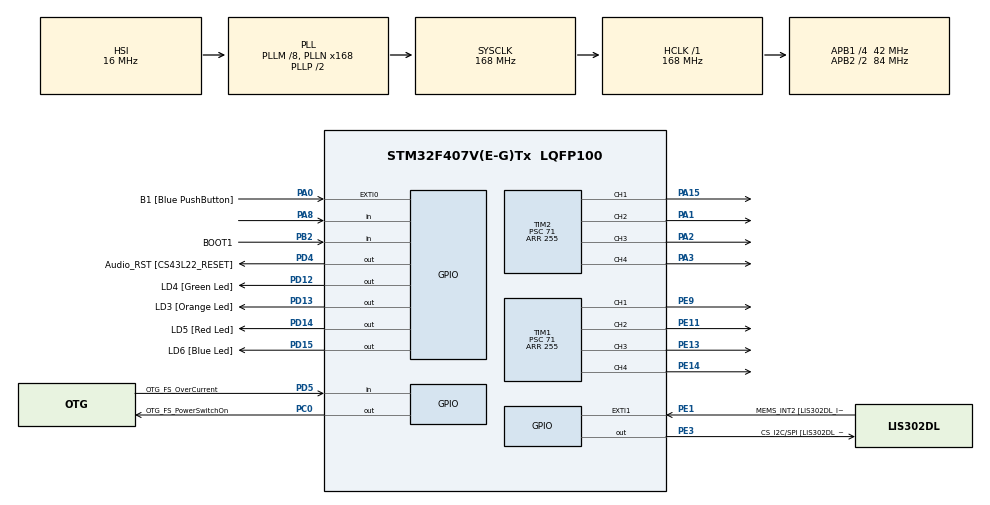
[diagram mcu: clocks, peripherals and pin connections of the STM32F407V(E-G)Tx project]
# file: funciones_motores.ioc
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Mcu.Family=STM32F4
Mcu.Name=STM32F407V(E-G)Tx
Mcu.Package=LQFP100
NVIC.PriorityGroup=NVIC_PRIORITYGROUP_0
PA0-WKUP.GPIO_Label=B1 [Blue PushButton]
PA0-WKUP.Signal=GPXTI0
PA1.Signal=S_TIM2_CH2
PA10.GPIO_Label=OTG_FS_ID
PA10.GPIO_Mode=GPIO_MODE_AF_PP
PA10.GPIO_PuPd=GPIO_NOPULL
PA10.GPIO_Speed=GPIO_SPEED_FREQ_LOW
PA10.Signal=USB_OTG_FS_ID
PA11.GPIO_Label=OTG_FS_DM
PA11.GPIO_Mode=GPIO_MODE_AF_PP
PA11.GPIO_PuPd=GPIO_NOPULL
PA11.GPIO_Speed=GPIO_SPEED_FREQ_LOW
PA11.Signal=USB_OTG_FS_DM
PA12.GPIO_Label=OTG_FS_DP
PA12.GPIO_Mode=GPIO_MODE_AF_PP
PA12.GPIO_PuPd=GPIO_NOPULL
PA12.GPIO_Speed=GPIO_SPEED_FREQ_LOW
PA12.Signal=USB_OTG_FS_DP
PA13.GPIO_Label=SWDIO
PA13.Signal=SYS_JTMS-SWDIO
PA14.GPIO_Label=SWCLK
PA14.Signal=SYS_JTCK-SWCLK
PA15.Signal=S_TIM2_CH1_ETR
PA2.Signal=S_TIM2_CH3
PA3.Signal=S_TIM2_CH4
PA4.GPIO_Label=I2S3_WS [CS43L22_LRCK]
PA4.GPIO_Mode=GPIO_MODE_AF_PP
PA4.GPIO_PuPd=GPIO_NOPULL
PA4.GPIO_Speed=GPIO_SPEED_FREQ_LOW
PA4.Signal=I2S3_WS
PA5.GPIO_Label=SPI1_SCK [LIS302DL_SCL/SPC]
PA5.GPIO_Mode=GPIO_MODE_AF_PP
PA5.GPIO_PuPd=GPIO_NOPULL
PA5.GPIO_Speed=GPIO_SPEED_FREQ_LOW
PA5.Signal=SPI1_SCK
PA6.GPIO_Label=SPI1_MISO [LIS302DL_SDO]
PA6.GPIO_Mode=GPIO_MODE_AF_PP
PA6.GPIO_PuPd=GPIO_NOPULL
PA6.GPIO_Speed=GPIO_SPEED_FREQ_LOW
PA6.Signal=SPI1_MISO
PA7.GPIO_Label=SPI1_MOSI [LIS302DL_SDA/SDI/SDO]
PA7.GPIO_Mode=GPIO_MODE_AF_PP
PA7.GPIO_PuPd=GPIO_NOPULL
PA7.GPIO_Speed=GPIO_SPEED_FREQ_LOW
PA7.Signal=SPI1_MOSI
PA8.GPIO_PuPd=GPIO_PULLDOWN
PA8.Signal=GPIO_Input
PA9.GPIO_Label=VBUS_FS
PA9.GPIO_Mode=GPIO_MODE_INPUT
PA9.GPIO_PuPd=GPIO_NOPULL
PA9.Signal=USB_OTG_FS_VBUS
PB10.GPIO_Label=CLK_IN [MP45DT02_CLK]
PB10.GPIO_Mode=GPIO_MODE_AF_PP
PB10.GPIO_PuPd=GPIO_NOPULL
PB10.GPIO_Speed=GPIO_SPEED_FREQ_LOW
PB10.Signal=I2S2_CK
PB2.GPIO_Label=BOOT1
PB2.GPIO_Mode=GPIO_MODE_INPUT
PB2.GPIO_PuPd=GPIO_NOPULL
PB2.Signal=GPIO_Input
PB3.GPIO_Label=SWO
PB3.Signal=SYS_JTDO-SWO
PB6.GPIO_Label=Audio_SCL [CS43L22_SCL]
PB6.GPIO_Mode=GPIO_MODE_AF_OD
PB6.GPIO_PuPd=GPIO_NOPULL
PB6.GPIO_Speed=GPIO_SPEED_FREQ_LOW
PB6.Signal=I2C1_SCL
PB9.GPIO_Label=Audio_SDA [CS43L22_SDA]
PB9.GPIO_Mode=GPIO_MODE_AF_OD
PB9.GPIO_PuPd=GPIO_NOPULL
PB9.GPIO_Speed=GPIO_SPEED_FREQ_LOW
PB9.Signal=I2C1_SDA
PC0.GPIO_Label=OTG_FS_PowerSwitchOn
PC0.GPIO_PuPd=GPIO_NOPULL
PC0.GPIO_Speed=GPIO_SPEED_FREQ_LOW
PC0.PinState=GPIO_PIN_SET
PC0.Signal=GPIO_Output
PC10.GPIO_Label=I2S3_SCK [CS43L22_SCLK]
PC10.GPIO_Mode=GPIO_MODE_AF_PP
PC10.GPIO_PuPd=GPIO_NOPULL
PC10.GPIO_Speed=GPIO_SPEED_FREQ_LOW
PC10.Signal=I2S3_CK
PC12.GPIO_Label=I2S3_SD [CS43L22_SDIN]
PC12.GPIO_Mode=GPIO_MODE_AF_PP
PC12.GPIO_PuPd=GPIO_NOPULL
PC12.GPIO_Speed=GPIO_SPEED_FREQ_LOW
PC12.Signal=I2S3_SD
PC14-OSC32_IN.GPIO_Label=PC14-OSC32_IN
PC14-OSC32_IN.Signal=RCC_OSC32_IN
PC15-OSC32_OUT.GPIO_Label=PC15-OSC32_OUT
PC15-OSC32_OUT.Signal=RCC_OSC32_OUT
PC3.GPIO_Label=PDM_OUT [MP45DT02_DOUT]
PC3.GPIO_Mode=GPIO_MODE_AF_PP
PC3.GPIO_PuPd=GPIO_NOPULL
PC3.GPIO_Speed=GPIO_SPEED_FREQ_LOW
PC3.Signal=I2S2_SD
PC7.GPIO_Label=I2S3_MCK [CS43L22_MCLK]
PC7.GPIO_Mode=GPIO_MODE_AF_PP
PC7.GPIO_PuPd=GPIO_NOPULL
PC7.GPIO_Speed=GPIO_SPEED_FREQ_LOW
PC7.Signal=I2S3_MCK
PD12.GPIO_Label=LD4 [Green Led]
PD12.GPIO_PuPd=GPIO_NOPULL
PD12.GPIO_Speed=GPIO_SPEED_FREQ_LOW
PD12.Signal=GPIO_Output
PD13.GPIO_Label=LD3 [Orange Led]
PD13.GPIO_PuPd=GPIO_NOPULL
PD13.GPIO_Speed=GPIO_SPEED_FREQ_LOW
PD13.Signal=GPIO_Output
PD14.GPIO_Label=LD5 [Red Led]
PD14.GPIO_PuPd=GPIO_NOPULL
PD14.GPIO_Speed=GPIO_SPEED_FREQ_LOW
PD14.Signal=GPIO_Output
PD15.GPIO_Label=LD6 [Blue Led]
PD15.GPIO_PuPd=GPIO_NOPULL
PD15.GPIO_Speed=GPIO_SPEED_FREQ_LOW
PD15.Signal=GPIO_Output
PD4.GPIO_Label=Audio_RST [CS43L22_RESET]
PD4.GPIO_PuPd=GPIO_NOPULL
PD4.GPIO_Speed=GPIO_SPEED_FREQ_LOW
PD4.Signal=GPIO_Output
PD5.GPIO_Label=OTG_FS_OverCurrent
PD5.GPIO_Mode=GPIO_MODE_INPUT
PD5.GPIO_PuPd=GPIO_NOPULL
PD5.Signal=GPIO_Input
PE1.GPIO_Label=MEMS_INT2 [LIS302DL_INT2]
PE1.GPIO_ModeDefaultEXTI=GPIO_MODE_EVT_RISING
PE1.GPIO_PuPd=GPIO_NOPULL
PE1.Signal=GPXTI1
PE11.Signal=S_TIM1_CH2
PE13.Signal=S_TIM1_CH3
PE14.Signal=S_TIM1_CH4
PE3.GPIO_Label=CS_I2C/SPI [LIS302DL_CS_I2C/SPI]
PE3.GPIO_PuPd=GPIO_NOPULL
PE3.GPIO_Speed=GPIO_SPEED_FREQ_LOW
PE3.Signal=GPIO_Output
PE9.Signal=S_TIM1_CH1
PH0-OSC_IN.GPIO_Label=PH0-OSC_IN
PH0-OSC_IN.Mode=HSE-External-Oscillator
PH0-OSC_IN.Signal=RCC_OSC_IN
PH1-OSC_OUT.GPIO_Label=PH1-OSC_OUT
PH1-OSC_OUT.Mode=HSE-External-Oscillator
PH1-OSC_OUT.Signal=RCC_OSC_OUT
ProjectManager.HeapSize=0x200
ProjectManager.StackSize=0x400
ProjectManager.TargetToolchain=STM32CubeIDE
RCC.48MHZClocksFreq_Value=48000000
RCC.AHBFreq_Value=168000000
RCC.APB1CLKDivider=RCC_HCLK_DIV4
RCC.APB1Freq_Value=42000000
RCC.APB1TimFreq_Value=84000000
RCC.APB2CLKDivider=RCC_HCLK_DIV2
RCC.APB2Freq_Value=84000000
RCC.APB2TimFreq_Value=168000000
RCC.CortexFreq_Value=168000000
RCC.HCLKFreq_Value=168000000
RCC.HSE_VALUE=8000000
RCC.HSI_VALUE=16000000
RCC.LSE_VALUE=32768
RCC.PLLM=8
RCC.PLLN=168
RCC.PLLQ=7
RCC.SYSCLKFreq_VALUE=168000000
RCC.SYSCLKSource=RCC_SYSCLKSOURCE_PLLCLK
RCC.VCOOutputFreq_Value=336000000
SH.S_TIM1_CH1.0=TIM1_CH1,PWM Generation1 CH1
SH.S_TIM1_CH2.0=TIM1_CH2,PWM Generation2 CH2
SH.S_TIM1_CH3.0=TIM1_CH3,PWM Generation3 CH3
SH.S_TIM1_CH4.0=TIM1_CH4,PWM Generation4 CH4
SH.S_TIM2_CH1_ETR.0=TIM2_CH1,PWM Generation1 CH1
SH.S_TIM2_CH2.0=TIM2_CH2,PWM Generation2 CH2
SH.S_TIM2_CH3.0=TIM2_CH3,PWM Generation3 CH3
SH.S_TIM2_CH4.0=TIM2_CH4,PWM Generation4 CH4
TIM1.AutoReloadPreload=TIM_AUTORELOAD_PRELOAD_ENABLE
TIM1.Channel-PWM\ Generation1\ CH1=TIM_CHANNEL_1
TIM1.Channel-PWM\ Generation2\ CH2=TIM_CHANNEL_2
TIM1.Channel-PWM\ Generation3\ CH3=TIM_CHANNEL_3
TIM1.Channel-PWM\ Generation4\ CH4=TIM_CHANNEL_4
TIM1.Period=255
TIM1.Prescaler=71
TIM2.AutoReloadPreload=TIM_AUTORELOAD_PRELOAD_ENABLE
TIM2.Channel-PWM\ Generation1\ CH1=TIM_CHANNEL_1
TIM2.Channel-PWM\ Generation2\ CH2=TIM_CHANNEL_2
TIM2.Channel-PWM\ Generation3\ CH3=TIM_CHANNEL_3
TIM2.Channel-PWM\ Generation4\ CH4=TIM_CHANNEL_4
TIM2.Period=255
TIM2.Prescaler=71
VP_TIM1_VS_ClockSourceINT.Mode=Internal
VP_TIM2_VS_ClockSourceINT.Mode=Internal
board=STM32F407G-DISC1

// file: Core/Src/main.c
/* USER CODE BEGIN Header */
/**
  ******************************************************************************
  * @file           : main.c
  * @brief          : Main program body
  ******************************************************************************
  * @attention
  *
  * Copyright (c) 2024 STMicroelectronics.
  * All rights reserved.
  *
  * This software is licensed under terms that can be found in the LICENSE file
  * in the root directory of this software component.
  * If no LICENSE file comes with this software, it is provided AS-IS.
  *
  ******************************************************************************
  */
/* USER CODE END Header */
#include "main.h"

/* USER CODE BEGIN Includes */
int contador = 1;
char *direccion[10] = {"ad", "at", "rrel", "rarel", "adci", "adcd", "atci", "atcd", "d", "i"};  // Inicializamos la dirección en "adelante"

// Prototipos de funciones
void movimiento(char str, int speed);
void cambiarDireccion(void);
/* USER CODE END Includes */

TIM_HandleTypeDef htim1;
TIM_HandleTypeDef htim2;

void SystemClock_Config(void);
static void MX_GPIO_Init(void);
static void MX_TIM1_Init(void);
static void MX_TIM2_Init(void);

int main(void)
{

  /* MCU Configuration--------------------------------------------------------*/

  /* Reset of all peripherals, Initializes the Flash interface and the Systick. */
  HAL_Init();

  /* Configure the system clock */
  SystemClock_Config();

  /* Initialize all configured peripherals */
  MX_GPIO_Init();
  MX_TIM1_Init();
  MX_TIM2_Init();
  /* USER CODE BEGIN 2 */
  HAL_TIM_PWM_Start_IT(&htim1, TIM_CHANNEL_1);
  __HAL_TIM_SetCompare(&htim1, TIM_CHANNEL_1, 0);

  HAL_TIM_PWM_Start_IT(&htim1, TIM_CHANNEL_2);
  __HAL_TIM_SetCompare(&htim1, TIM_CHANNEL_2, 0);

  HAL_TIM_PWM_Start_IT(&htim1, TIM_CHANNEL_3);
  __HAL_TIM_SetCompare(&htim1, TIM_CHANNEL_3, 0);

  HAL_TIM_PWM_Start_IT(&htim1, TIM_CHANNEL_4);
  __HAL_TIM_SetCompare(&htim1, TIM_CHANNEL_4, 0);

  HAL_TIM_PWM_Start_IT(&htim2, TIM_CHANNEL_1);
  __HAL_TIM_SetCompare(&htim2, TIM_CHANNEL_1, 0);

  HAL_TIM_PWM_Start_IT(&htim2, TIM_CHANNEL_2);
  __HAL_TIM_SetCompare(&htim2, TIM_CHANNEL_2, 0);

  HAL_TIM_PWM_Start_IT(&htim2, TIM_CHANNEL_3);
  __HAL_TIM_SetCompare(&htim2, TIM_CHANNEL_3, 0);

  HAL_TIM_PWM_Start_IT(&htim2, TIM_CHANNEL_4);
  __HAL_TIM_SetCompare(&htim2, TIM_CHANNEL_4, 0);

  movimiento('a', 100);
  /* USER CODE END 2 */

  /* Infinite loop */
  while (1)
  {

    /* USER CODE BEGIN 3 */
	if (HAL_GPIO_ReadPin(GPIOA, GPIO_PIN_8) == GPIO_PIN_SET) // Suponiendo que el botón está en GPIOA y PIN0
	{

	  movimiento(direccion[contador], 150);
	  contador = contador + 1;
	  HAL_Delay(200);
	}
	if (contador >= 10)
		{
	  	contador = 0;
		}

  }
  /* USER CODE END 3 */
}

void SystemClock_Config(void)
{
  RCC_OscInitTypeDef RCC_OscInitStruct = {0};
  RCC_ClkInitTypeDef RCC_ClkInitStruct = {0};

  /** Configure the main internal regulator output voltage
  */
  __HAL_RCC_PWR_CLK_ENABLE();
  __HAL_PWR_VOLTAGESCALING_CONFIG(PWR_REGULATOR_VOLTAGE_SCALE1);

  /** Initializes the RCC Oscillators according to the specified parameters
  * in the RCC_OscInitTypeDef structure.
  */
  RCC_OscInitStruct.OscillatorType = RCC_OSCILLATORTYPE_HSI;
  RCC_OscInitStruct.HSIState = RCC_HSI_ON;
  RCC_OscInitStruct.HSICalibrationValue = RCC_HSICALIBRATION_DEFAULT;
  RCC_OscInitStruct.PLL.PLLState = RCC_PLL_ON;
  RCC_OscInitStruct.PLL.PLLSource = RCC_PLLSOURCE_HSI;
  RCC_OscInitStruct.PLL.PLLM = 8;
  RCC_OscInitStruct.PLL.PLLN = 168;
  RCC_OscInitStruct.PLL.PLLP = RCC_PLLP_DIV2;
  RCC_OscInitStruct.PLL.PLLQ = 7;
  if (HAL_RCC_OscConfig(&RCC_OscInitStruct) != HAL_OK)
  {
    Error_Handler();
  }

  /** Initializes the CPU, AHB and APB buses clocks
  */
  RCC_ClkInitStruct.ClockType = RCC_CLOCKTYPE_HCLK|RCC_CLOCKTYPE_SYSCLK
                              |RCC_CLOCKTYPE_PCLK1|RCC_CLOCKTYPE_PCLK2;
  RCC_ClkInitStruct.SYSCLKSource = RCC_SYSCLKSOURCE_PLLCLK;
  RCC_ClkInitStruct.AHBCLKDivider = RCC_SYSCLK_DIV1;
  RCC_ClkInitStruct.APB1CLKDivider = RCC_HCLK_DIV4;
  RCC_ClkInitStruct.APB2CLKDivider = RCC_HCLK_DIV2;

  if (HAL_RCC_ClockConfig(&RCC_ClkInitStruct, FLASH_LATENCY_5) != HAL_OK)
  {
    Error_Handler();
  }
}

static void MX_TIM1_Init(void)
{

  TIM_ClockConfigTypeDef sClockSourceConfig = {0};
  TIM_MasterConfigTypeDef sMasterConfig = {0};
  TIM_OC_InitTypeDef sConfigOC = {0};
  TIM_BreakDeadTimeConfigTypeDef sBreakDeadTimeConfig = {0};

  htim1.Instance = TIM1;
  htim1.Init.Prescaler = 71;
  htim1.Init.CounterMode = TIM_COUNTERMODE_UP;
  htim1.Init.Period = 255;
  htim1.Init.ClockDivision = TIM_CLOCKDIVISION_DIV1;
  htim1.Init.RepetitionCounter = 0;
  htim1.Init.AutoReloadPreload = TIM_AUTORELOAD_PRELOAD_ENABLE;
  if (HAL_TIM_Base_Init(&htim1) != HAL_OK)
  {
    Error_Handler();
  }
  sClockSourceConfig.ClockSource = TIM_CLOCKSOURCE_INTERNAL;
  if (HAL_TIM_ConfigClockSource(&htim1, &sClockSourceConfig) != HAL_OK)
  {
    Error_Handler();
  }
  if (HAL_TIM_PWM_Init(&htim1) != HAL_OK)
  {
    Error_Handler();
  }
  sMasterConfig.MasterOutputTrigger = TIM_TRGO_RESET;
  sMasterConfig.MasterSlaveMode = TIM_MASTERSLAVEMODE_DISABLE;
  if (HAL_TIMEx_MasterConfigSynchronization(&htim1, &sMasterConfig) != HAL_OK)
  {
    Error_Handler();
  }
  sConfigOC.OCMode = TIM_OCMODE_PWM1;
  sConfigOC.Pulse = 0;
  sConfigOC.OCPolarity = TIM_OCPOLARITY_HIGH;
  sConfigOC.OCNPolarity = TIM_OCNPOLARITY_HIGH;
  sConfigOC.OCFastMode = TIM_OCFAST_DISABLE;
  sConfigOC.OCIdleState = TIM_OCIDLESTATE_RESET;
  sConfigOC.OCNIdleState = TIM_OCNIDLESTATE_RESET;
  if (HAL_TIM_PWM_ConfigChannel(&htim1, &sConfigOC, TIM_CHANNEL_1) != HAL_OK)
  {
    Error_Handler();
  }
  if (HAL_TIM_PWM_ConfigChannel(&htim1, &sConfigOC, TIM_CHANNEL_2) != HAL_OK)
  {
    Error_Handler();
  }
  if (HAL_TIM_PWM_ConfigChannel(&htim1, &sConfigOC, TIM_CHANNEL_3) != HAL_OK)
  {
    Error_Handler();
  }
  if (HAL_TIM_PWM_ConfigChannel(&htim1, &sConfigOC, TIM_CHANNEL_4) != HAL_OK)
  {
    Error_Handler();
  }
  sBreakDeadTimeConfig.OffStateRunMode = TIM_OSSR_DISABLE;
  sBreakDeadTimeConfig.OffStateIDLEMode = TIM_OSSI_DISABLE;
  sBreakDeadTimeConfig.LockLevel = TIM_LOCKLEVEL_OFF;
  sBreakDeadTimeConfig.DeadTime = 0;
  sBreakDeadTimeConfig.BreakState = TIM_BREAK_DISABLE;
  sBreakDeadTimeConfig.BreakPolarity = TIM_BREAKPOLARITY_HIGH;
  sBreakDeadTimeConfig.AutomaticOutput = TIM_AUTOMATICOUTPUT_DISABLE;
  if (HAL_TIMEx_ConfigBreakDeadTime(&htim1, &sBreakDeadTimeConfig) != HAL_OK)
  {
    Error_Handler();
  }
  HAL_TIM_MspPostInit(&htim1);

}

static void MX_TIM2_Init(void)
{

  TIM_ClockConfigTypeDef sClockSourceConfig = {0};
  TIM_MasterConfigTypeDef sMasterConfig = {0};
  TIM_OC_InitTypeDef sConfigOC = {0};

  htim2.Instance = TIM2;
  htim2.Init.Prescaler = 71;
  htim2.Init.CounterMode = TIM_COUNTERMODE_UP;
  htim2.Init.Period = 255;
  htim2.Init.ClockDivision = TIM_CLOCKDIVISION_DIV1;
  htim2.Init.AutoReloadPreload = TIM_AUTORELOAD_PRELOAD_ENABLE;
  if (HAL_TIM_Base_Init(&htim2) != HAL_OK)
  {
    Error_Handler();
  }
  sClockSourceConfig.ClockSource = TIM_CLOCKSOURCE_INTERNAL;
  if (HAL_TIM_ConfigClockSource(&htim2, &sClockSourceConfig) != HAL_OK)
  {
    Error_Handler();
  }
  if (HAL_TIM_PWM_Init(&htim2) != HAL_OK)
  {
    Error_Handler();
  }
  sMasterConfig.MasterOutputTrigger = TIM_TRGO_RESET;
  sMasterConfig.MasterSlaveMode = TIM_MASTERSLAVEMODE_DISABLE;
  if (HAL_TIMEx_MasterConfigSynchronization(&htim2, &sMasterConfig) != HAL_OK)
  {
    Error_Handler();
  }
  sConfigOC.OCMode = TIM_OCMODE_PWM1;
  sConfigOC.Pulse = 0;
  sConfigOC.OCPolarity = TIM_OCPOLARITY_HIGH;
  sConfigOC.OCFastMode = TIM_OCFAST_DISABLE;
  if (HAL_TIM_PWM_ConfigChannel(&htim2, &sConfigOC, TIM_CHANNEL_1) != HAL_OK)
  {
    Error_Handler();
  }
  if (HAL_TIM_PWM_ConfigChannel(&htim2, &sConfigOC, TIM_CHANNEL_2) != HAL_OK)
  {
    Error_Handler();
  }
  if (HAL_TIM_PWM_ConfigChannel(&htim2, &sConfigOC, TIM_CHANNEL_3) != HAL_OK)
  {
    Error_Handler();
  }
  if (HAL_TIM_PWM_ConfigChannel(&htim2, &sConfigOC, TIM_CHANNEL_4) != HAL_OK)
  {
    Error_Handler();
  }
  HAL_TIM_MspPostInit(&htim2);

}

static void MX_GPIO_Init(void)
{
  GPIO_InitTypeDef GPIO_InitStruct = {0};

  /* GPIO Ports Clock Enable */
  __HAL_RCC_GPIOE_CLK_ENABLE();
  __HAL_RCC_GPIOC_CLK_ENABLE();
  __HAL_RCC_GPIOH_CLK_ENABLE();
  __HAL_RCC_GPIOA_CLK_ENABLE();
  __HAL_RCC_GPIOB_CLK_ENABLE();
  __HAL_RCC_GPIOD_CLK_ENABLE();

  /*Configure GPIO pin Output Level */
  HAL_GPIO_WritePin(CS_I2C_SPI_GPIO_Port, CS_I2C_SPI_Pin, GPIO_PIN_RESET);

  /*Configure GPIO pin Output Level */
  HAL_GPIO_WritePin(OTG_FS_PowerSwitchOn_GPIO_Port, OTG_FS_PowerSwitchOn_Pin, GPIO_PIN_SET);

  /*Configure GPIO pin Output Level */
  HAL_GPIO_WritePin(GPIOD, LD4_Pin|LD3_Pin|LD5_Pin|LD6_Pin
                          |Audio_RST_Pin, GPIO_PIN_RESET);

  /*Configure GPIO pin : CS_I2C_SPI_Pin */
  GPIO_InitStruct.Pin = CS_I2C_SPI_Pin;
  GPIO_InitStruct.Mode = GPIO_MODE_OUTPUT_PP;
  GPIO_InitStruct.Pull = GPIO_NOPULL;
  GPIO_InitStruct.Speed = GPIO_SPEED_FREQ_LOW;
  HAL_GPIO_Init(CS_I2C_SPI_GPIO_Port, &GPIO_InitStruct);

  /*Configure GPIO pin : OTG_FS_PowerSwitchOn_Pin */
  GPIO_InitStruct.Pin = OTG_FS_PowerSwitchOn_Pin;
  GPIO_InitStruct.Mode = GPIO_MODE_OUTPUT_PP;
  GPIO_InitStruct.Pull = GPIO_NOPULL;
  GPIO_InitStruct.Speed = GPIO_SPEED_FREQ_LOW;
  HAL_GPIO_Init(OTG_FS_PowerSwitchOn_GPIO_Port, &GPIO_InitStruct);

  /*Configure GPIO pin : PDM_OUT_Pin */
  GPIO_InitStruct.Pin = PDM_OUT_Pin;
  GPIO_InitStruct.Mode = GPIO_MODE_AF_PP;
  GPIO_InitStruct.Pull = GPIO_NOPULL;
  GPIO_InitStruct.Speed = GPIO_SPEED_FREQ_LOW;
  GPIO_InitStruct.Alternate = GPIO_AF5_SPI2;
  HAL_GPIO_Init(PDM_OUT_GPIO_Port, &GPIO_InitStruct);

  /*Configure GPIO pin : B1_Pin */
  GPIO_InitStruct.Pin = B1_Pin;
  GPIO_InitStruct.Mode = GPIO_MODE_IT_RISING;
  GPIO_InitStruct.Pull = GPIO_NOPULL;
  HAL_GPIO_Init(B1_GPIO_Port, &GPIO_InitStruct);

  /*Configure GPIO pin : I2S3_WS_Pin */
  GPIO_InitStruct.Pin = I2S3_WS_Pin;
  GPIO_InitStruct.Mode = GPIO_MODE_AF_PP;
  GPIO_InitStruct.Pull = GPIO_NOPULL;
  GPIO_InitStruct.Speed = GPIO_SPEED_FREQ_LOW;
  GPIO_InitStruct.Alternate = GPIO_AF6_SPI3;
  HAL_GPIO_Init(I2S3_WS_GPIO_Port, &GPIO_InitStruct);

  /*Configure GPIO pins : SPI1_SCK_Pin SPI1_MISO_Pin SPI1_MOSI_Pin */
  GPIO_InitStruct.Pin = SPI1_SCK_Pin|SPI1_MISO_Pin|SPI1_MOSI_Pin;
  GPIO_InitStruct.Mode = GPIO_MODE_AF_PP;
  GPIO_InitStruct.Pull = GPIO_NOPULL;
  GPIO_InitStruct.Speed = GPIO_SPEED_FREQ_LOW;
  GPIO_InitStruct.Alternate = GPIO_AF5_SPI1;
  HAL_GPIO_Init(GPIOA, &GPIO_InitStruct);

  /*Configure GPIO pin : BOOT1_Pin */
  GPIO_InitStruct.Pin = BOOT1_Pin;
  GPIO_InitStruct.Mode = GPIO_MODE_INPUT;
  GPIO_InitStruct.Pull = GPIO_NOPULL;
  HAL_GPIO_Init(BOOT1_GPIO_Port, &GPIO_InitStruct);

  /*Configure GPIO pin : CLK_IN_Pin */
  GPIO_InitStruct.Pin = CLK_IN_Pin;
  GPIO_InitStruct.Mode = GPIO_MODE_AF_PP;
  GPIO_InitStruct.Pull = GPIO_NOPULL;
  GPIO_InitStruct.Speed = GPIO_SPEED_FREQ_LOW;
  GPIO_InitStruct.Alternate = GPIO_AF5_SPI2;
  HAL_GPIO_Init(CLK_IN_GPIO_Port, &GPIO_InitStruct);

  /*Configure GPIO pins : LD4_Pin LD3_Pin LD5_Pin LD6_Pin
                           Audio_RST_Pin */
  GPIO_InitStruct.Pin = LD4_Pin|LD3_Pin|LD5_Pin|LD6_Pin
                          |Audio_RST_Pin;
  GPIO_InitStruct.Mode = GPIO_MODE_OUTPUT_PP;
  GPIO_InitStruct.Pull = GPIO_NOPULL;
  GPIO_InitStruct.Speed = GPIO_SPEED_FREQ_LOW;
  HAL_GPIO_Init(GPIOD, &GPIO_InitStruct);

  /*Configure GPIO pins : I2S3_MCK_Pin I2S3_SCK_Pin I2S3_SD_Pin */
  GPIO_InitStruct.Pin = I2S3_MCK_Pin|I2S3_SCK_Pin|I2S3_SD_Pin;
  GPIO_InitStruct.Mode = GPIO_MODE_AF_PP;
  GPIO_InitStruct.Pull = GPIO_NOPULL;
  GPIO_InitStruct.Speed = GPIO_SPEED_FREQ_LOW;
  GPIO_InitStruct.Alternate = GPIO_AF6_SPI3;
  HAL_GPIO_Init(GPIOC, &GPIO_InitStruct);

  /*Configure GPIO pin : PA8 */
  GPIO_InitStruct.Pin = GPIO_PIN_8;
  GPIO_InitStruct.Mode = GPIO_MODE_INPUT;
  GPIO_InitStruct.Pull = GPIO_PULLDOWN;
  HAL_GPIO_Init(GPIOA, &GPIO_InitStruct);

  /*Configure GPIO pin : VBUS_FS_Pin */
  GPIO_InitStruct.Pin = VBUS_FS_Pin;
  GPIO_InitStruct.Mode = GPIO_MODE_INPUT;
  GPIO_InitStruct.Pull = GPIO_NOPULL;
  HAL_GPIO_Init(VBUS_FS_GPIO_Port, &GPIO_InitStruct);

  /*Configure GPIO pins : OTG_FS_ID_Pin OTG_FS_DM_Pin OTG_FS_DP_Pin */
  GPIO_InitStruct.Pin = OTG_FS_ID_Pin|OTG_FS_DM_Pin|OTG_FS_DP_Pin;
  GPIO_InitStruct.Mode = GPIO_MODE_AF_PP;
  GPIO_InitStruct.Pull = GPIO_NOPULL;
  GPIO_InitStruct.Speed = GPIO_SPEED_FREQ_LOW;
  GPIO_InitStruct.Alternate = GPIO_AF10_OTG_FS;
  HAL_GPIO_Init(GPIOA, &GPIO_InitStruct);

  /*Configure GPIO pin : OTG_FS_OverCurrent_Pin */
  GPIO_InitStruct.Pin = OTG_FS_OverCurrent_Pin;
  GPIO_InitStruct.Mode = GPIO_MODE_INPUT;
  GPIO_InitStruct.Pull = GPIO_NOPULL;
  HAL_GPIO_Init(OTG_FS_OverCurrent_GPIO_Port, &GPIO_InitStruct);

  /*Configure GPIO pins : Audio_SCL_Pin Audio_SDA_Pin */
  GPIO_InitStruct.Pin = Audio_SCL_Pin|Audio_SDA_Pin;
  GPIO_InitStruct.Mode = GPIO_MODE_AF_OD;
  GPIO_InitStruct.Pull = GPIO_NOPULL;
  GPIO_InitStruct.Speed = GPIO_SPEED_FREQ_LOW;
  GPIO_InitStruct.Alternate = GPIO_AF4_I2C1;
  HAL_GPIO_Init(GPIOB, &GPIO_InitStruct);

  /*Configure GPIO pin : MEMS_INT2_Pin */
  GPIO_InitStruct.Pin = MEMS_INT2_Pin;
  GPIO_InitStruct.Mode = GPIO_MODE_EVT_RISING;
  GPIO_InitStruct.Pull = GPIO_NOPULL;
  HAL_GPIO_Init(MEMS_INT2_GPIO_Port, &GPIO_InitStruct);

}

/* USER CODE BEGIN 4 */
void movimiento(char str, int speed) {
	// Motor 1
	 __HAL_TIM_SetCompare(&htim1, TIM_CHANNEL_1, 0);
	 __HAL_TIM_SetCompare(&htim1, TIM_CHANNEL_2, 0);

	 // Motor 2
	 __HAL_TIM_SetCompare(&htim1, TIM_CHANNEL_3, 0);
	 __HAL_TIM_SetCompare(&htim1, TIM_CHANNEL_4, 0);

	 // Motor 3
	 __HAL_TIM_SetCompare(&htim2, TIM_CHANNEL_1, 0);
	 __HAL_TIM_SetCompare(&htim2, TIM_CHANNEL_2, 0);

	 // Motor 4
	 __HAL_TIM_SetCompare(&htim2, TIM_CHANNEL_3, 0);
	 __HAL_TIM_SetCompare(&htim2, TIM_CHANNEL_4, 0);

	 HAL_Delay(1000);

		// Stop
		if (strcmp(str, "s") == 0 )
		{
			// Motor 1
			 __HAL_TIM_SetCompare(&htim1, TIM_CHANNEL_1, 0);
			 __HAL_TIM_SetCompare(&htim1, TIM_CHANNEL_2, 0);

			 // Motor 2
			 __HAL_TIM_SetCompare(&htim1, TIM_CHANNEL_3, 0);
			 __HAL_TIM_SetCompare(&htim1, TIM_CHANNEL_4, 0);

			 // Motor 3
			 __HAL_TIM_SetCompare(&htim2, TIM_CHANNEL_1, 0);
			 __HAL_TIM_SetCompare(&htim2, TIM_CHANNEL_2, 0);

			 // Motor 4
			 __HAL_TIM_SetCompare(&htim2, TIM_CHANNEL_3, 0);
			 __HAL_TIM_SetCompare(&htim2, TIM_CHANNEL_4, 0);
		}

	// Adelante
	if (strcmp(str, 'a') == 0 )
	{
		// Motor 1
		 __HAL_TIM_SetCompare(&htim1, TIM_CHANNEL_1, speed);
		 __HAL_TIM_SetCompare(&htim1, TIM_CHANNEL_2, 0);

		 // Motor 2
		 __HAL_TIM_SetCompare(&htim1, TIM_CHANNEL_3, speed);
		 __HAL_TIM_SetCompare(&htim1, TIM_CHANNEL_4, 0);

		 // Motor 3
		 __HAL_TIM_SetCompare(&htim2, TIM_CHANNEL_1, speed);
		 __HAL_TIM_SetCompare(&htim2, TIM_CHANNEL_2, 0);

		 // Motor 4
		 __HAL_TIM_SetCompare(&htim2, TIM_CHANNEL_3, speed);
		 __HAL_TIM_SetCompare(&htim2, TIM_CHANNEL_4, 0);
	}

	// Atras
	if (strcmp(str, "at") == 0 )
	{
		// Motor 1
		 __HAL_TIM_SetCompare(&htim1, TIM_CHANNEL_1, 0);
		 __HAL_TIM_SetCompare(&htim1, TIM_CHANNEL_2, speed);

		 // Motor 2
		 __HAL_TIM_SetCompare(&htim1, TIM_CHANNEL_3, 0);
		 __HAL_TIM_SetCompare(&htim1, TIM_CHANNEL_4, speed);

		 // Motor 3
		 __HAL_TIM_SetCompare(&htim2, TIM_CHANNEL_1, 0);
		 __HAL_TIM_SetCompare(&htim2, TIM_CHANNEL_2, speed);

		 // Motor 4
		 __HAL_TIM_SetCompare(&htim2, TIM_CHANNEL_3, 0);
		 __HAL_TIM_SetCompare(&htim2, TIM_CHANNEL_4, speed);

	}

	// Rotación en sentido horario
	if (strcmp(str, "rrel") == 0 )
	{
		// Motor 1
		 __HAL_TIM_SetCompare(&htim1, TIM_CHANNEL_1, speed);
		 __HAL_TIM_SetCompare(&htim1, TIM_CHANNEL_2, 0);

		 // Motor 2
		 __HAL_TIM_SetCompare(&htim1, TIM_CHANNEL_3, 0);
		 __HAL_TIM_SetCompare(&htim1, TIM_CHANNEL_4, speed);

		 // Motor 3
		 __HAL_TIM_SetCompare(&htim2, TIM_CHANNEL_1, speed);
		 __HAL_TIM_SetCompare(&htim2, TIM_CHANNEL_2, 0);

		 // Motor 4
		 __HAL_TIM_SetCompare(&htim2, TIM_CHANNEL_3, 0);
		 __HAL_TIM_SetCompare(&htim2, TIM_CHANNEL_4, speed);
	}

	// Rotación en sentido antihorario
	if (strcmp(str, "rarel") == 0 )
	{
		// Motor 1
		 __HAL_TIM_SetCompare(&htim1, TIM_CHANNEL_1, 0);
		 __HAL_TIM_SetCompare(&htim1, TIM_CHANNEL_2, speed);

		 // Motor 2
		 __HAL_TIM_SetCompare(&htim1, TIM_CHANNEL_3, speed);
		 __HAL_TIM_SetCompare(&htim1, TIM_CHANNEL_4, 0);

		 // Motor 3
		 __HAL_TIM_SetCompare(&htim2, TIM_CHANNEL_1, 0);
		 __HAL_TIM_SetCompare(&htim2, TIM_CHANNEL_2, speed);

		 // Motor 4
		 __HAL_TIM_SetCompare(&htim2, TIM_CHANNEL_3, speed);
		 __HAL_TIM_SetCompare(&htim2, TIM_CHANNEL_4, 0);
	}

	// Adelante 45° derecha
	if (strcmp(str, "adcd") == 0 )
	{
		// Motor 1
		__HAL_TIM_SetCompare(&htim1, TIM_CHANNEL_1, speed);
		__HAL_TIM_SetCompare(&htim1, TIM_CHANNEL_2, 0);

		// Motor 2
		__HAL_TIM_SetCompare(&htim1, TIM_CHANNEL_3, 0);
		__HAL_TIM_SetCompare(&htim1, TIM_CHANNEL_4, 0);

		 // Motor 3
		__HAL_TIM_SetCompare(&htim2, TIM_CHANNEL_1, 0);
		__HAL_TIM_SetCompare(&htim2, TIM_CHANNEL_2, 0);

		// Motor 4
		__HAL_TIM_SetCompare(&htim2, TIM_CHANNEL_3, speed);
		__HAL_TIM_SetCompare(&htim2, TIM_CHANNEL_4, 0);
	}

	// Adelante 45° izquierda
	if (strcmp(str, "adci") == 0 )
	{
		// Motor 1
		__HAL_TIM_SetCompare(&htim1, TIM_CHANNEL_1, 0);
		__HAL_TIM_SetCompare(&htim1, TIM_CHANNEL_2, 0);

		// Motor 2
		__HAL_TIM_SetCompare(&htim1, TIM_CHANNEL_3, speed);
		__HAL_TIM_SetCompare(&htim1, TIM_CHANNEL_4, 0);

		 // Motor 3
		__HAL_TIM_SetCompare(&htim2, TIM_CHANNEL_1, speed);
		__HAL_TIM_SetCompare(&htim2, TIM_CHANNEL_2, 0);

		// Motor 4
		__HAL_TIM_SetCompare(&htim2, TIM_CHANNEL_3, 0);
		__HAL_TIM_SetCompare(&htim2, TIM_CHANNEL_4, 0);
	}

	// Atrás 45° izquierda
	if (strcmp(str, "atci") == 0 )
	{
		// Motor 1
		__HAL_TIM_SetCompare(&htim1, TIM_CHANNEL_1, 0);
		__HAL_TIM_SetCompare(&htim1, TIM_CHANNEL_2, speed);

		// Motor 2
		__HAL_TIM_SetCompare(&htim1, TIM_CHANNEL_3, 0);
		__HAL_TIM_SetCompare(&htim1, TIM_CHANNEL_4, 0);

		 // Motor 3
		__HAL_TIM_SetCompare(&htim2, TIM_CHANNEL_1, 0);
		__HAL_TIM_SetCompare(&htim2, TIM_CHANNEL_2, 0);

		// Motor 4
		__HAL_TIM_SetCompare(&htim2, TIM_CHANNEL_3, 0);
		__HAL_TIM_SetCompare(&htim2, TIM_CHANNEL_4, speed);
	}
	// Atrás 45° derecha
	if (strcmp(str, "atcd") == 0 )
	{
		// Motor 1
		__HAL_TIM_SetCompare(&htim1, TIM_CHANNEL_1, 0);
		__HAL_TIM_SetCompare(&htim1, TIM_CHANNEL_2, 0);

		// Motor 2
		__HAL_TIM_SetCompare(&htim1, TIM_CHANNEL_3, 0);
		__HAL_TIM_SetCompare(&htim1, TIM_CHANNEL_4, speed);

		 // Motor 3
		__HAL_TIM_SetCompare(&htim2, TIM_CHANNEL_1, 0);
		__HAL_TIM_SetCompare(&htim2, TIM_CHANNEL_2, speed);

		// Motor 4
		__HAL_TIM_SetCompare(&htim2, TIM_CHANNEL_3, 0);
		__HAL_TIM_SetCompare(&htim2, TIM_CHANNEL_4, 0);
	}

	// Derecha
	if (strcmp(str, "d") == 0 )
	{
		// Motor 1
		__HAL_TIM_SetCompare(&htim1, TIM_CHANNEL_1, speed);
		__HAL_TIM_SetCompare(&htim1, TIM_CHANNEL_2, 0);

		// Motor 2
		__HAL_TIM_SetCompare(&htim1, TIM_CHANNEL_3, 0);
		__HAL_TIM_SetCompare(&htim1, TIM_CHANNEL_4, speed);

		 // Motor 3
		__HAL_TIM_SetCompare(&htim2, TIM_CHANNEL_1, 0);
		__HAL_TIM_SetCompare(&htim2, TIM_CHANNEL_2, speed);

		// Motor 4
		__HAL_TIM_SetCompare(&htim2, TIM_CHANNEL_3, speed);
		__HAL_TIM_SetCompare(&htim2, TIM_CHANNEL_4, 0);
	}
	// Izquierda
	if (strcmp(str, "i") == 0 )
	{
		// Motor 1
		__HAL_TIM_SetCompare(&htim1, TIM_CHANNEL_1, 0);
		__HAL_TIM_SetCompare(&htim1, TIM_CHANNEL_2, speed);

		// Motor 2
		__HAL_TIM_SetCompare(&htim1, TIM_CHANNEL_3, speed);
		__HAL_TIM_SetCompare(&htim1, TIM_CHANNEL_4, 0);

		 // Motor 3
		__HAL_TIM_SetCompare(&htim2, TIM_CHANNEL_1, speed);
		__HAL_TIM_SetCompare(&htim2, TIM_CHANNEL_2, 0);

		// Motor 4
		__HAL_TIM_SetCompare(&htim2, TIM_CHANNEL_3, 0);
		__HAL_TIM_SetCompare(&htim2, TIM_CHANNEL_4, speed);
	}
}
/* USER CODE END 4 */

void Error_Handler(void)
{
  __disable_irq();
  while (1)
  {
  }
}
